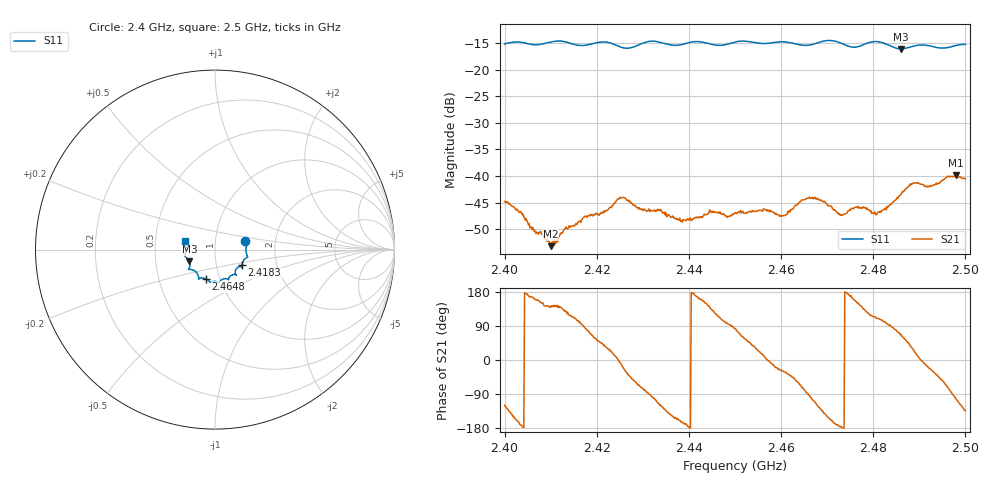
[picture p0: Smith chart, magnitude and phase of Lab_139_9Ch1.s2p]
# Hz S RI R 50
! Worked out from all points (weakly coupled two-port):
!   601 points, 2.4 GHz to 2.5 GHz, reference 50 ohm
!   highest |S21| = -39.90 dB at 2.498 GHz (marker M1); lowest = -53.2 dB at 2.41 GHz (marker M2)
!   lowest |S11| = -16.1 dB at 2.486 GHz (marker M3), VSWR 1.37, Z = 37.2 - j4.99 ohm
!   |S11| at or under -10 dB: start of sweep to end of sweep
!   S12 and S22 are empty: the file has one direction only
!   S11 on the Smith chart (normalised r, x): 2.4 GHz: 1.40, +0.13; 2.4183 GHz: 1.33, -0.24; 2.4648 GHz: 0.86, -0.29; 2.5 GHz: 0.71, +0.07
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2.4e9  0.1694 0.0459  -0.00282 -0.00501  0 0  0 0
2.41e9  0.1793 -0.0346  -0.00174 0.00132  0 0  0 0
2.416667e9  0.1549 -0.0684  -0.000288 0.0038  0 0  0 0
2.418333e9  0.1498 -0.0871  0.00121 0.00407  0 0  0 0
2.4255e9  0.1296 -0.0977  0.00604 -0.00166  0 0  0 0
2.4295e9  0.113 -0.1334  0.00159 -0.00457  0 0  0 0
2.433333e9  0.1175 -0.141  -0.00194 -0.00429  0 0  0 0
2.438667e9  0.0792 -0.155  -0.00374 -0.000989  0 0  0 0
2.445e9  0.062 -0.1621  -0.00307 0.00337  0 0  0 0
2.45e9  0.0257 -0.1808  0.000511 0.00444  0 0  0 0
2.456667e9  -0.00705 -0.1769  0.00476 0.000369  0 0  0 0
2.4605e9  -0.0288 -0.1816  0.00371 -0.00209  0 0  0 0
2.464833e9  -0.0506 -0.1627  0.00152 -0.00579  0 0  0 0
2.466667e9  -0.0714 -0.1575  -0.00135 -0.00602  0 0  0 0
2.473e9  -0.0914 -0.1531  -0.0043 -0.000366  0 0  0 0
2.480667e9  -0.1479 -0.1106  -0.00149 0.00404  0 0  0 0
2.483333e9  -0.1412 -0.0964  -0.000332 0.0052  0 0  0 0
2.486e9  -0.1431 -0.0654  0.00252 0.00618  0 0  0 0
2.488833e9  -0.1622 -0.0421  0.00777 0.00364  0 0  0 0
2.492333e9  -0.1662 -0.0257  0.00744 -0.00324  0 0  0 0
2.498e9  -0.1661 0.0358  -0.00238 -0.00983  0 0  0 0
2.5e9  -0.1672 0.0465  -0.00653 -0.00672  0 0  0 0
